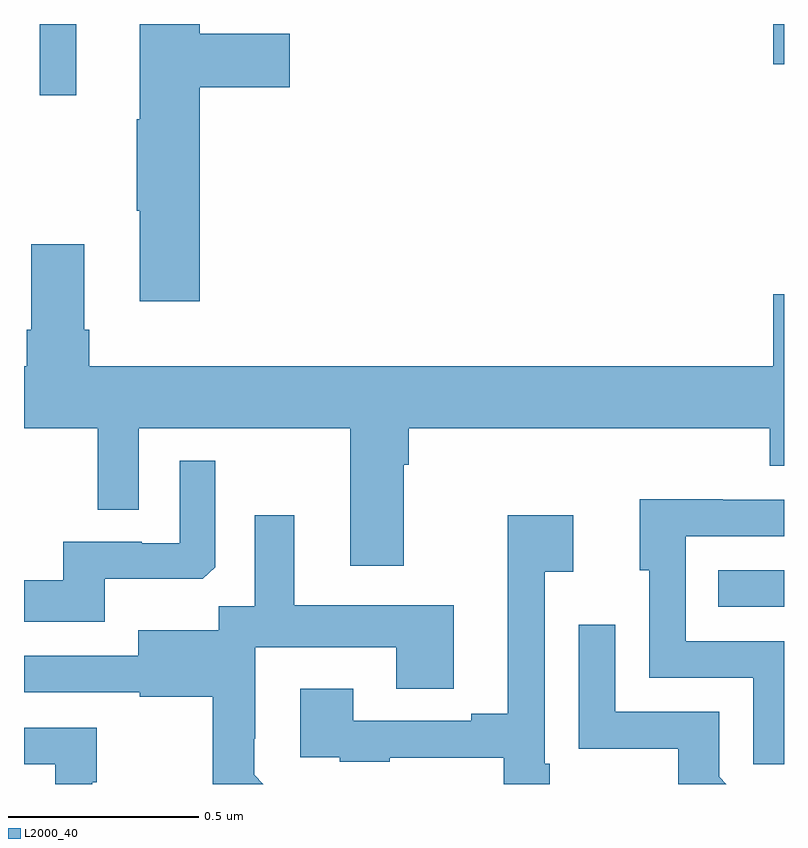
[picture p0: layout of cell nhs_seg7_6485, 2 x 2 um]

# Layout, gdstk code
import gdstk
lib = gdstk.Library(unit=1e-6, precision=1e-09)
def R(c, l, rs):  # rectangles x0, y0, x1, y1
    for r in rs: c.add(gdstk.rectangle(r[:2], r[2:], *l))
def P(c, l, *ps):  # polygons
    for p in ps: c.add(gdstk.Polygon(p, *l))
L2000_40 = (2000, 40)

nhs_seg7_6485 = lib.new_cell('nhs_seg7_6485')
R(nhs_seg7_6485, L2000_40, [(200.827,1013.466,201,1013.562), (199.041,1014.813,199.138,1015), (200.972,1014.894,201,1015)])
P(nhs_seg7_6485, L2000_40, [(199.463,1014.833),(199.699,1014.833),(199.699,1014.975),(199.463,1014.975),(199.463,1015),(199.304,1015),(199.304,1014.749),(199.297,1014.749),(199.297,1014.508),(199.304,1014.508),(199.304,1014.27),(199.463,1014.27)],
  [(199.999,1013.84),(200.012,1013.84),(200.012,1013.936),(200.963,1013.936),(200.963,1013.837),(201,1013.837),(201,1014.289),(200.972,1014.289),(200.972,1014.1),(199.172,1014.1),(199.172,1014.196),(199.159,1014.196),(199.159,1014.421),(199.019,1014.421),(199.019,1014.196),(199.007,1014.196),(199.007,1014.1),(199,1014.1),(199,1013.936),(199.194,1013.936),(199.194,1013.722),(199.302,1013.722),(199.302,1013.936),(199.859,1013.936),(199.859,1013.574),(199.999,1013.574)],
  [(199.213,1013.54),(199.471,1013.54),(199.503,1013.571),(199.503,1013.851),(199.41,1013.851),(199.41,1013.634),(199.31,1013.634),(199.31,1013.637),(199.103,1013.637),(199.103,1013.536),(199,1013.536),(199,1013.427),(199.213,1013.427)],
  [(201,1013.376),(200.742,1013.376),(200.742,1013.652),(201,1013.652),(201,1013.748),(200.839,1013.748),(200.839,1013.75),(200.621,1013.75),(200.621,1013.562),(200.646,1013.562),(200.646,1013.28),(200.919,1013.28),(200.919,1013.052),(201,1013.052)],
  [(199.606,1013.024),(199.606,1013.119),(199.608,1013.119),(199.608,1013.36),(199.979,1013.36),(199.979,1013.251),(200.131,1013.251),(200.131,1013.47),(199.711,1013.47),(199.711,1013.707),(199.607,1013.707),(199.607,1013.468),(199.512,1013.468),(199.512,1013.404),(199.301,1013.404),(199.301,1013.337),(199,1013.337),(199,1013.241),(199.305,1013.241),(199.305,1013.229),(199.497,1013.229),(199.497,1013),(199.63,1013)],
  [(200.383,1013.053),(200.37,1013.053),(200.37,1013.558),(200.446,1013.558),(200.446,1013.707),(200.273,1013.707),(200.273,1013.185),(200.177,1013.185),(200.177,1013.166),(199.867,1013.166),(199.867,1013.251),(199.727,1013.251),(199.727,1013.07),(199.831,1013.07),(199.831,1013.058),(199.963,1013.058),(199.963,1013.069),(200.262,1013.069),(200.262,1013),(200.383,1013)],
  [(200.829,1013.019),(200.829,1013.19),(200.556,1013.19),(200.556,1013.419),(200.46,1013.419),(200.46,1013.093),(200.722,1013.093),(200.722,1013),(200.848,1013)],
  [(199.18,1013.004),(199.192,1013.004),(199.192,1013.148),(199,1013.148),(199,1013.052),(199.082,1013.052),(199.082,1013),(199.18,1013)])

lib.write_gds('nhs_seg7_6485.gds')
